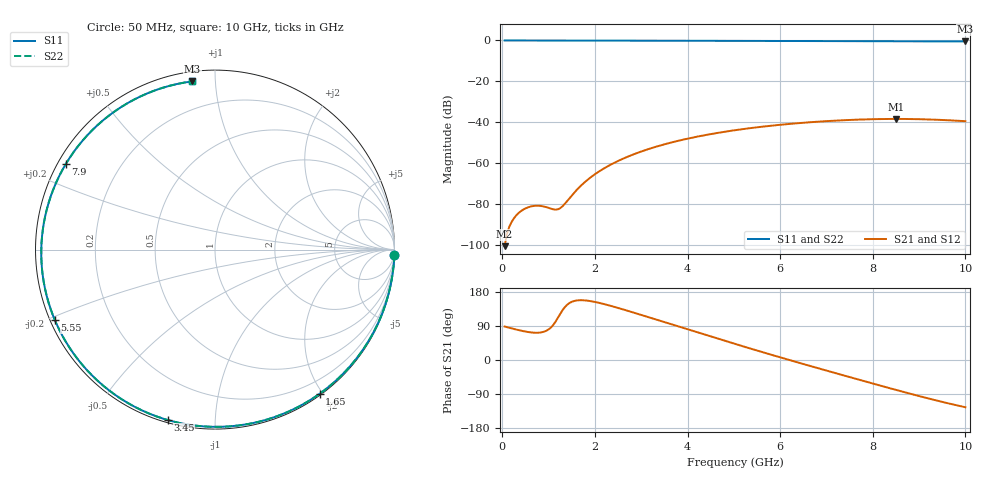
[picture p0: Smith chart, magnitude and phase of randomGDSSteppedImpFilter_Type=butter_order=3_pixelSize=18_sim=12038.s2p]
! freq	dB(S11)	phase(S11)	dB(S12)	phase(S12)
!  dB(S21)	phase(S21)	dB(S22)	phase(S22)
!S-par simulation data
#  GHz  S  DB  R 50
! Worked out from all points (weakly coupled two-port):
!   200 points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, 50 MHz to 10 GHz, reference 50 ohm
!   highest |S21| = -38.45 dB at 8.5 GHz (marker M1); lowest = -100.8 dB at 50 MHz (marker M2)
!   lowest |S11| = -0.5 dB at 10 GHz (marker M3), VSWR 35.81, Z = 2.46 + j43.7 ohm
!   |S11| at or under -10 dB: nowhere
!   |S22| runs from -0.5 to 0.0 dB; largest |S21 - S12| = 0
!   S11 on the Smith chart (normalised r, x): 50 MHz: 0, -67; 1.65 GHz: 0.02, -1.96; 3.45 GHz: 0.01, -0.76; 5.55 GHz: 0.01, -0.21; 7.9 GHz: 0.02, +0.27; 10 GHz: 0.05, +0.87
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0.05  -0.00 -1.7  -100.78 88.4  -100.78 88.4  -0.00 -1.7
0.65  -0.03 -21.8  -81.18 72.4  -81.18 72.4  -0.03 -21.8
1  -0.04 -33.3  -82.02 80.7  -82.02 80.7  -0.04 -33.3
1.35  -0.06 -44.6  -80.04 139.4  -80.04 139.4  -0.06 -44.6
1.65  -0.07 -54.1  -72.22 157.7  -72.22 157.7  -0.07 -54.1
1.75  -0.07 -57.2  -70.04 157.6  -70.04 157.6  -0.07 -57.2
2.05  -0.08 -66.3  -64.77 151.9  -64.77 151.9  -0.08 -66.3
2.45  -0.09 -78.0  -59.59 139.1  -59.59 139.1  -0.09 -78.0
2.9  -0.11 -90.7  -55.23 122.7  -55.23 122.7  -0.11 -90.7
3.4  -0.13 -104.2  -51.53 103.8  -51.53 103.8  -0.13 -104.2
3.45  -0.13 -105.5  -51.21 101.9  -51.21 101.9  -0.13 -105.5
4.25  -0.16 -125.7  -46.94 71.5  -46.94 71.5  -0.16 -125.8
5.05  -0.20 -144.8  -43.88 41.5  -43.88 41.5  -0.20 -144.8
5.55  -0.22 -156.4  -42.41 23.2  -42.41 23.2  -0.22 -156.4
6.15  -0.26 -170.0  -40.99 1.7  -40.99 1.7  -0.26 -170.0
6.7  -0.29 177.6  -39.98 -17.6  -39.98 -17.6  -0.29 177.6
7.3  -0.33 164.0  -39.15 -38.2  -39.15 -38.2  -0.33 164.0
7.9  -0.37 150.1  -38.63 -58.7  -38.63 -58.7  -0.37 150.1
8.35  -0.40 139.4  -38.46 -73.9  -38.46 -73.9  -0.40 139.4
8.5  -0.41 135.8  -38.45 -78.9  -38.45 -78.9  -0.41 135.8
9.3  -0.45 115.9  -38.78 -104.5  -38.78 -104.5  -0.45 115.9
10  -0.49 97.6  -39.55 -124.7  -39.55 -124.7  -0.49 97.6
